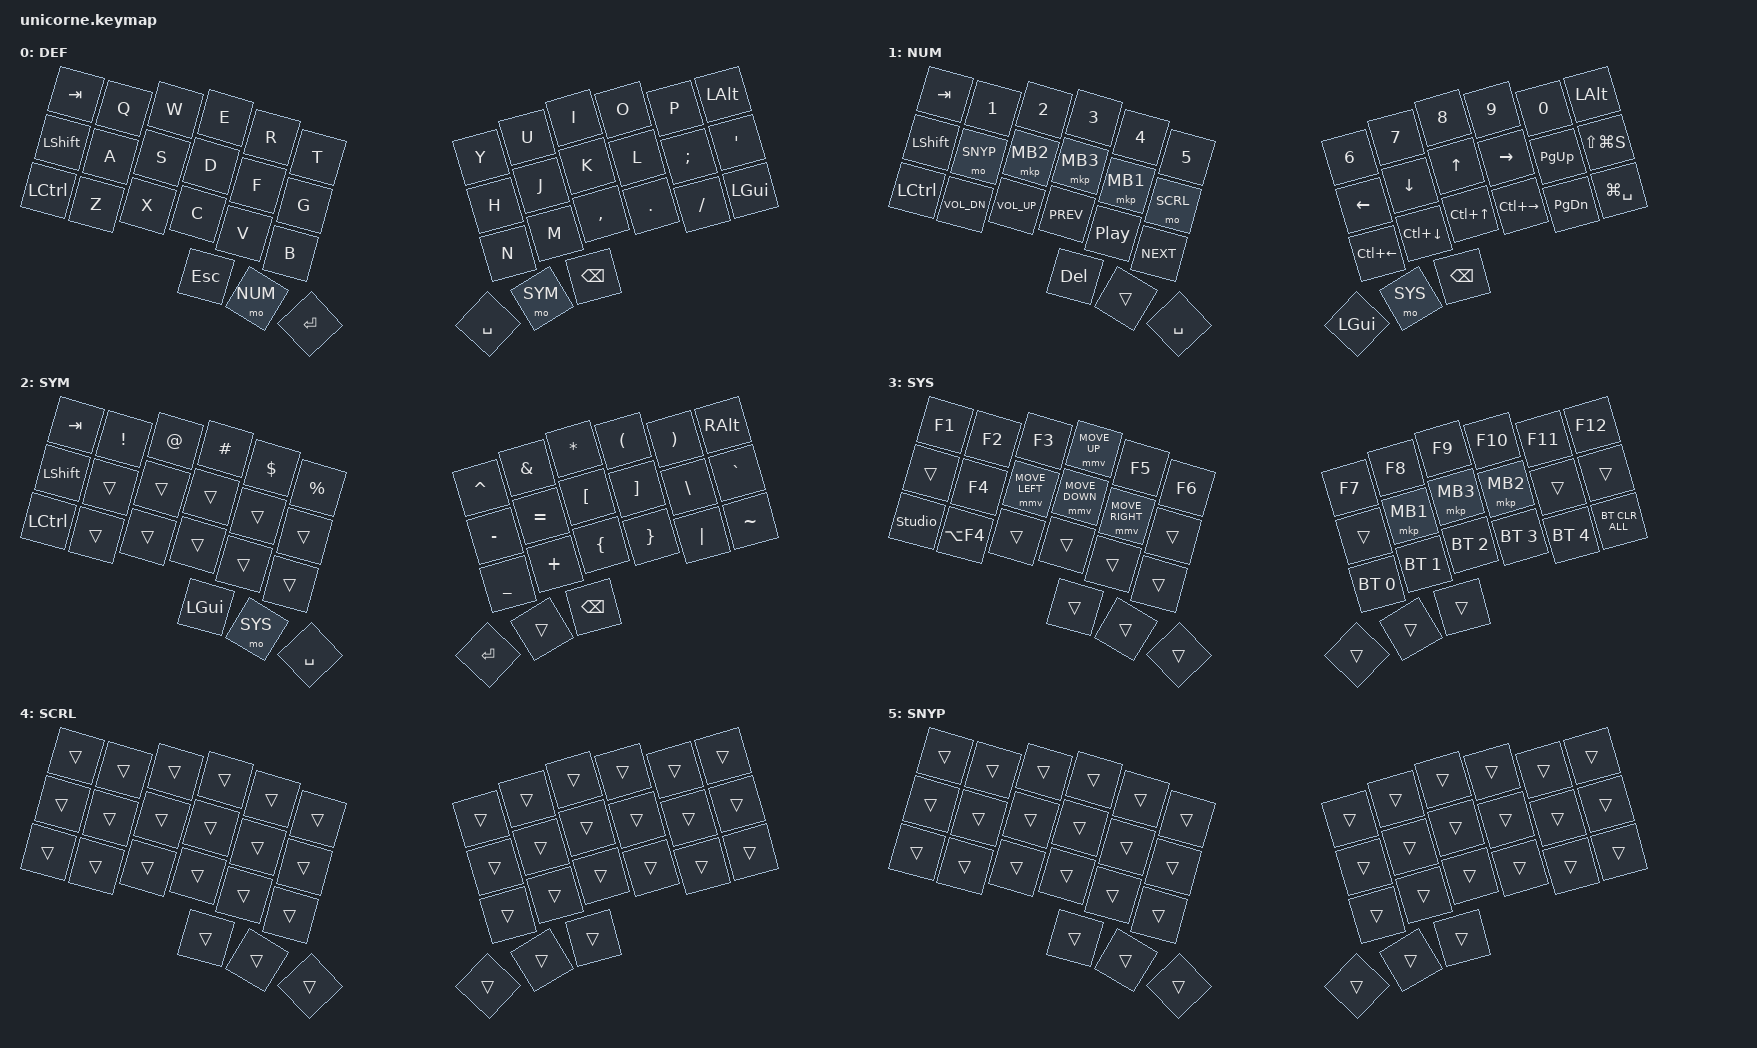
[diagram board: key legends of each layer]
/*
 * Copyright (c) 2020 The ZMK Contributors
 *
 * SPDX-License-Identifier: MIT
 */

#include <behaviors.dtsi>
#include <dt-bindings/zmk/bt.h>
#include <dt-bindings/zmk/keys.h>
#include <dt-bindings/zmk/pointing.h>
#include <input/processors.dtsi>

// Layer Definitions
#define DEF 0
#define NUM 1
#define SYM 2
#define SYS 3
#define SCRL 4
#define SNYP 5

/ {
  // Trackpad: hold SCRL to turn movement into scrolling, SNYP for precision.
  tps43_listener: tps43_listener {
    compatible = "zmk,input-listener";
    device = <&tps43>;

    scroller {
      layers = <SCRL>;
      input-processors = <&zip_xy_to_scroll_mapper>, <&zip_scroll_scaler 1 8>;
    };

    sniper {
      layers = <SNYP>;
      input-processors = <&zip_xy_scaler 1 3>;
    };
  };
};

/ {
  keymap {
    compatible = "zmk,keymap";

    DEF {
      display-name = "DEF";
      bindings = <
        &kp TAB       &kp Q  &kp W  &kp E     &kp R  &kp T      &kp Y      &kp U  &kp I      &kp O    &kp P     &kp LEFT_ALT
        &kp LSHFT     &kp A  &kp S  &kp D     &kp F  &kp G      &kp H      &kp J  &kp K      &kp L    &kp SEMI  &kp SQT
        &kp LCTRL     &kp Z  &kp X  &kp C     &kp V  &kp B      &kp N      &kp M  &kp COMMA  &kp DOT  &kp FSLH  &kp LGUI
                                    &kp ESC   &mo NUM &kp RET   &kp SPACE  &mo SYM &kp BSPC
      >;
    };

    NUM {
      display-name = "NUM";
      bindings = <
        &kp TAB       &kp N1        &kp N2        &kp N3      &kp N4          &kp N5        &kp N6            &kp N7              &kp N8            &kp N9             &kp N0       &kp LEFT_ALT
        &kp LSHFT     &mo SNYP      &mkp MB2      &mkp MB3    &mkp MB1        &mo SCRL      &kp LEFT          &kp DOWN            &kp UP            &kp RIGHT          &kp PG_UP    &kp LS(LG(S))
        &kp LCTRL     &kp C_VOL_DN  &kp C_VOL_UP  &kp C_PREV  &kp C_PP        &kp C_NEXT    &kp LC(LEFT)      &kp LC(DOWN)        &kp LC(UP)        &kp LC(RIGHT)      &kp PG_DN    &kp LG(SPACE)
                                                  &kp DEL     &trans          &kp SPACE     &kp LEFT_GUI      &mo SYS             &kp BSPC
      >;
    };

    SYM {
      display-name = "SYM";
      bindings = <
        &kp TAB       &kp EXCL  &kp AT  &kp HASH  &kp DLLR  &kp PRCNT    &kp CARET  &kp AMPS   &kp ASTRK  &kp LPAR  &kp RPAR  &kp RALT
        &kp LSHFT     &trans    &trans  &trans    &trans    &trans       &kp MINUS  &kp EQUAL  &kp LBKT   &kp RBKT  &kp BSLH  &kp GRAVE
        &kp LCTRL     &trans    &trans  &trans    &trans    &trans       &kp UNDER  &kp PLUS   &kp LBRC   &kp RBRC  &kp PIPE  &kp TILDE
                                        &kp LGUI  &mo SYS   &kp SPACE    &kp RET    &trans     &kp BSPC
      >;
    };

    SYS {
      display-name = "SYS";
      bindings = <
        &kp F1  &kp F2      &kp F3          &mmv MOVE_UP    &kp F5           &kp F6     &kp F7        &kp F8        &kp F9        &kp F10       &kp F11       &kp F12
        &trans  &kp F4      &mmv MOVE_LEFT  &mmv MOVE_DOWN  &mmv MOVE_RIGHT  &trans     &trans        &mkp MB1      &mkp MB3      &mkp MB2      &trans        &trans
        &studio_unlock  &kp LA(F4)  &trans          &trans          &trans           &trans     &bt BT_SEL 0  &bt BT_SEL 1  &bt BT_SEL 2  &bt BT_SEL 3  &bt BT_SEL 4  &bt BT_CLR_ALL
                                            &trans          &trans           &trans     &trans        &trans        &trans
      >;
    };

    SCRL {
      display-name = "SCRL";
      bindings = <
        &trans  &trans  &trans  &trans  &trans  &trans    &trans  &trans  &trans  &trans  &trans  &trans
        &trans  &trans  &trans  &trans  &trans  &trans    &trans  &trans  &trans  &trans  &trans  &trans
        &trans  &trans  &trans  &trans  &trans  &trans    &trans  &trans  &trans  &trans  &trans  &trans
                                &trans  &trans  &trans    &trans  &trans  &trans
      >;
    };

    SNYP {
      display-name = "SNYP";
      bindings = <
        &trans  &trans  &trans  &trans  &trans  &trans    &trans  &trans  &trans  &trans  &trans  &trans
        &trans  &trans  &trans  &trans  &trans  &trans    &trans  &trans  &trans  &trans  &trans  &trans
        &trans  &trans  &trans  &trans  &trans  &trans    &trans  &trans  &trans  &trans  &trans  &trans
                                &trans  &trans  &trans    &trans  &trans  &trans
      >;
    };
  };
};
